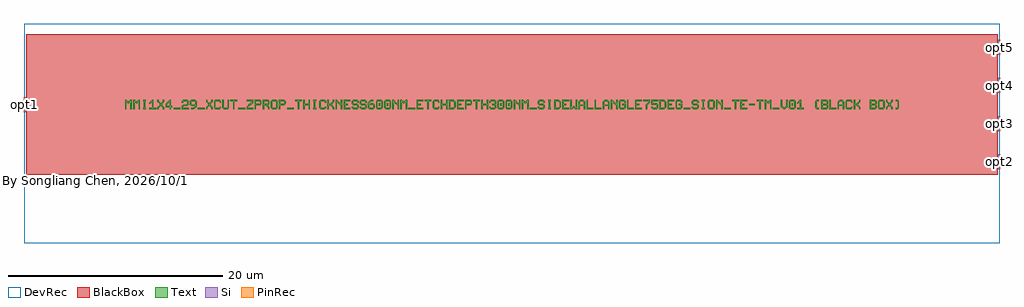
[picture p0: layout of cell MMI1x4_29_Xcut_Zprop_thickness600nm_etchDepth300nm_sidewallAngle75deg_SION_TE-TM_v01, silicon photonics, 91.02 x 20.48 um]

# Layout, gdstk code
import gdstk
lib = gdstk.Library(unit=1e-6, precision=1e-10)
def R(c, l, rs):  # rectangles x0, y0, x1, y1
    for r in rs: c.add(gdstk.rectangle(r[:2], r[2:], *l))
def A(c, l, x, y, w, h, nx, ny, dx, dy):  # array of equal rectangles
    R(c, l, [(x+i*dx, y+j*dy, x+i*dx+w, y+j*dy+h) for i in range(nx) for j in range(ny)])
def P(c, l, *ps):  # polygons
    for p in ps: c.add(gdstk.Polygon(p, *l))
Si = (1, 0)
PinRec = (1, 10)
Text = (10, 0)
DevRec = (68, 0)
BlackBox = (998, 0)

text = lib.new_cell('TEXT')
A(text, Text, 15.1, 0, 0.629, 0.126, 3, 1, 11.325, 0)
R(text, Text, [(4.53,0,5.159,0.126), (6.795,0,7.424,0.126), (10.57,0,11.199,0.126), (52.095,0,52.724,0.126), (55.87,0,56.499,0.126), (60.4,0,61.029,0.126), (23.657,0.315,23.783,0.566), (24.412,0.315,24.538,0.566), (34.982,0.315,35.108,0.566), (35.737,0.315,35.863,0.566), (62.162,0.315,62.288,0.566), (58.198,0.378,58.701,0.503)])
P(text, Text, [(0,0),(0,0.881),(0.126,0.881),(0.252,0.755),(0.378,0.755),(0.503,0.881),(0.629,0.881),(0.629,0),(0.503,0),(0.503,0.629),(0.44,0.629),(0.315,0.503),(0.189,0.629),(0.126,0.629),(0.126,0)],
  [(0.755,0),(0.755,0.881),(0.881,0.881),(1.007,0.755),(1.133,0.755),(1.258,0.881),(1.384,0.881),(1.384,0),(1.258,0),(1.258,0.629),(1.195,0.629),(1.07,0.503),(0.944,0.629),(0.881,0.629),(0.881,0)],
  [(1.699,0),(1.699,0.126),(1.762,0.126),(1.762,0.755),(1.699,0.755),(1.699,0.881),(1.95,0.881),(1.95,0.755),(1.888,0.755),(1.888,0.126),(1.95,0.126),(1.95,0)],
  [(2.265,0),(2.265,0.126),(2.517,0.126),(2.517,0.629),(2.454,0.629),(2.328,0.503),(2.265,0.503),(2.265,0.629),(2.517,0.881),(2.643,0.881),(2.643,0.126),(2.894,0.126),(2.894,0)],
  [(3.02,0),(3.02,0.189),(3.209,0.378),(3.209,0.503),(3.02,0.692),(3.02,0.881),(3.146,0.881),(3.146,0.755),(3.335,0.566),(3.523,0.755),(3.523,0.881),(3.649,0.881),(3.649,0.692),(3.46,0.503),(3.46,0.378),(3.649,0.189),(3.649,0),(3.523,0),(3.523,0.126),(3.335,0.315),(3.146,0.126),(3.146,0)],
  [(4.153,0),(4.153,0.189),(3.775,0.189),(3.775,0.315),(4.153,0.315),(4.153,0.629),(4.09,0.629),(3.901,0.44),(3.901,0.315),(3.775,0.315),(3.775,0.503),(4.153,0.881),(4.278,0.881),(4.278,0.315),(4.404,0.315),(4.404,0.189),(4.278,0.189),(4.278,0)],
  [(5.285,0),(5.285,0.315),(5.411,0.44),(5.725,0.44),(5.788,0.503),(5.788,0.692),(5.725,0.755),(5.474,0.755),(5.411,0.692),(5.411,0.629),(5.285,0.629),(5.285,0.755),(5.411,0.881),(5.788,0.881),(5.914,0.755),(5.914,0.44),(5.788,0.315),(5.474,0.315),(5.411,0.252),(5.411,0.126),(5.914,0.126),(5.914,0)],
  [(6.166,0),(6.166,0.126),(6.355,0.126),(6.48,0.252),(6.48,0.315),(6.166,0.315),(6.04,0.44),(6.48,0.44),(6.543,0.503),(6.543,0.692),(6.48,0.755),(6.229,0.755),(6.166,0.692),(6.166,0.503),(6.229,0.44),(6.04,0.44),(6.04,0.755),(6.166,0.881),(6.543,0.881),(6.669,0.755),(6.669,0.252),(6.418,0)],
  [(7.55,0),(7.55,0.189),(7.739,0.378),(7.739,0.503),(7.55,0.692),(7.55,0.881),(7.676,0.881),(7.676,0.755),(7.865,0.566),(8.053,0.755),(8.053,0.881),(8.179,0.881),(8.179,0.692),(7.99,0.503),(7.99,0.378),(8.179,0.189),(8.179,0),(8.053,0),(8.053,0.126),(7.865,0.315),(7.676,0.126),(7.676,0)],
  [(8.431,0),(8.305,0.126),(8.305,0.755),(8.431,0.881),(8.808,0.881),(8.934,0.755),(8.934,0.629),(8.808,0.629),(8.808,0.692),(8.745,0.755),(8.494,0.755),(8.431,0.692),(8.431,0.189),(8.494,0.126),(8.745,0.126),(8.808,0.189),(8.808,0.252),(8.934,0.252),(8.934,0.126),(8.808,0)],
  [(9.186,0),(9.06,0.126),(9.06,0.881),(9.186,0.881),(9.186,0.189),(9.249,0.126),(9.5,0.126),(9.563,0.189),(9.563,0.881),(9.689,0.881),(9.689,0.126),(9.563,0)],
  [(10.067,0),(10.067,0.755),(9.815,0.755),(9.815,0.881),(10.444,0.881),(10.444,0.755),(10.193,0.755),(10.193,0)],
  [(11.325,0),(11.325,0.252),(11.577,0.503),(11.64,0.503),(11.828,0.692),(11.828,0.755),(11.325,0.755),(11.325,0.881),(11.954,0.881),(11.954,0.629),(11.703,0.378),(11.64,0.378),(11.451,0.189),(11.451,0.126),(11.954,0.126),(11.954,0)],
  [(12.08,0),(12.08,0.881),(12.583,0.881),(12.709,0.755),(12.709,0.503),(12.583,0.378),(12.206,0.378),(12.206,0.503),(12.52,0.503),(12.583,0.566),(12.583,0.692),(12.52,0.755),(12.206,0.755),(12.206,0)],
  [(12.835,0),(12.835,0.881),(13.338,0.881),(13.464,0.755),(12.961,0.755),(12.961,0.503),(13.275,0.503),(13.338,0.566),(13.338,0.692),(13.275,0.755),(13.464,0.755),(13.464,0.503),(13.338,0.378),(13.338,0.315),(13.464,0.189),(13.464,0),(13.338,0),(13.338,0.126),(13.087,0.378),(12.961,0.378),(12.961,0)],
  [(13.716,0),(13.59,0.126),(13.59,0.755),(13.716,0.881),(14.093,0.881),(14.219,0.755),(14.219,0.44),(14.093,0.44),(14.093,0.692),(14.03,0.755),(13.779,0.755),(13.716,0.692),(13.716,0.189),(13.779,0.126),(14.03,0.126),(14.093,0.189),(14.093,0.44),(14.219,0.44),(14.219,0.126),(14.093,0)],
  [(14.345,0),(14.345,0.881),(14.848,0.881),(14.974,0.755),(14.974,0.503),(14.848,0.378),(14.471,0.378),(14.471,0.503),(14.785,0.503),(14.848,0.566),(14.848,0.692),(14.785,0.755),(14.471,0.755),(14.471,0)],
  [(16.107,0),(16.107,0.755),(15.855,0.755),(15.855,0.881),(16.484,0.881),(16.484,0.755),(16.233,0.755),(16.233,0)],
  [(16.61,0),(16.61,0.881),(16.736,0.881),(16.736,0.503),(17.113,0.503),(17.113,0.881),(17.239,0.881),(17.239,0),(17.113,0),(17.113,0.378),(16.736,0.378),(16.736,0)],
  [(17.554,0),(17.554,0.126),(17.617,0.126),(17.617,0.755),(17.554,0.755),(17.554,0.881),(17.805,0.881),(17.805,0.755),(17.743,0.755),(17.743,0.126),(17.805,0.126),(17.805,0)],
  [(18.246,0),(18.12,0.126),(18.12,0.755),(18.246,0.881),(18.623,0.881),(18.749,0.755),(18.749,0.629),(18.623,0.629),(18.623,0.692),(18.56,0.755),(18.309,0.755),(18.246,0.692),(18.246,0.189),(18.309,0.126),(18.56,0.126),(18.623,0.189),(18.623,0.252),(18.749,0.252),(18.749,0.126),(18.623,0)],
  [(18.875,0),(18.875,0.881),(19.001,0.881),(19.001,0.503),(19.127,0.503),(19.378,0.755),(19.378,0.881),(19.504,0.881),(19.504,0.692),(19.253,0.44),(19.504,0.189),(19.504,0),(19.378,0),(19.378,0.126),(19.127,0.378),(19.001,0.378),(19.001,0)],
  [(19.63,0),(19.63,0.881),(19.756,0.881),(20.07,0.566),(20.133,0.566),(20.133,0.881),(20.259,0.881),(20.259,0),(20.133,0),(20.133,0.315),(19.819,0.629),(19.756,0.629),(19.756,0)],
  [(20.385,0),(20.385,0.881),(21.014,0.881),(21.014,0.755),(20.511,0.755),(20.511,0.503),(20.763,0.503),(20.763,0.378),(20.511,0.378),(20.511,0.126),(21.014,0.126),(21.014,0)],
  [(21.266,0),(21.14,0.126),(21.14,0.252),(21.266,0.252),(21.266,0.189),(21.329,0.126),(21.58,0.126),(21.643,0.189),(21.643,0.315),(21.58,0.378),(21.266,0.378),(21.14,0.503),(21.14,0.755),(21.266,0.881),(21.643,0.881),(21.769,0.755),(21.769,0.629),(21.643,0.629),(21.643,0.692),(21.58,0.755),(21.329,0.755),(21.266,0.692),(21.266,0.566),(21.329,0.503),(21.643,0.503),(21.769,0.378),(21.769,0.126),(21.643,0)],
  [(22.021,0),(21.895,0.126),(21.895,0.252),(22.021,0.252),(22.021,0.189),(22.084,0.126),(22.335,0.126),(22.398,0.189),(22.398,0.315),(22.335,0.378),(22.021,0.378),(21.895,0.503),(21.895,0.755),(22.021,0.881),(22.398,0.881),(22.524,0.755),(22.524,0.629),(22.398,0.629),(22.398,0.692),(22.335,0.755),(22.084,0.755),(22.021,0.692),(22.021,0.566),(22.084,0.503),(22.398,0.503),(22.524,0.378),(22.524,0.126),(22.398,0)],
  [(22.776,0),(22.65,0.126),(22.65,0.629),(22.902,0.881),(23.153,0.881),(23.153,0.755),(22.965,0.755),(22.839,0.629),(22.839,0.566),(23.153,0.566),(23.279,0.44),(22.839,0.44),(22.776,0.378),(22.776,0.189),(22.839,0.126),(23.09,0.126),(23.153,0.189),(23.153,0.378),(23.09,0.44),(23.279,0.44),(23.279,0.126),(23.153,0)],
  [(23.531,0),(23.405,0.126),(23.405,0.755),(23.531,0.881),(23.908,0.881),(24.034,0.755),(23.594,0.755),(23.531,0.692),(23.531,0.189),(23.594,0.126),(23.845,0.126),(23.908,0.189),(23.908,0.692),(23.845,0.755),(24.034,0.755),(24.034,0.126),(23.908,0)],
  [(24.286,0),(24.16,0.126),(24.16,0.755),(24.286,0.881),(24.663,0.881),(24.789,0.755),(24.349,0.755),(24.286,0.692),(24.286,0.189),(24.349,0.126),(24.6,0.126),(24.663,0.189),(24.663,0.692),(24.6,0.755),(24.789,0.755),(24.789,0.126),(24.663,0)],
  [(24.915,0),(24.915,0.881),(25.041,0.881),(25.355,0.566),(25.418,0.566),(25.418,0.881),(25.544,0.881),(25.544,0),(25.418,0),(25.418,0.315),(25.104,0.629),(25.041,0.629),(25.041,0)],
  [(25.67,0),(25.67,0.881),(25.796,0.881),(25.922,0.755),(26.048,0.755),(26.173,0.881),(26.299,0.881),(26.299,0),(26.173,0),(26.173,0.629),(26.11,0.629),(25.985,0.503),(25.859,0.629),(25.796,0.629),(25.796,0)],
  [(27.18,0),(27.18,0.881),(27.809,0.881),(27.809,0.755),(27.306,0.755),(27.306,0.503),(27.558,0.503),(27.558,0.378),(27.306,0.378),(27.306,0.126),(27.809,0.126),(27.809,0)],
  [(28.187,0),(28.187,0.755),(27.935,0.755),(27.935,0.881),(28.564,0.881),(28.564,0.755),(28.313,0.755),(28.313,0)],
  [(28.816,0),(28.69,0.126),(28.69,0.755),(28.816,0.881),(29.193,0.881),(29.319,0.755),(29.319,0.629),(29.193,0.629),(29.193,0.692),(29.13,0.755),(28.879,0.755),(28.816,0.692),(28.816,0.189),(28.879,0.126),(29.13,0.126),(29.193,0.189),(29.193,0.252),(29.319,0.252),(29.319,0.126),(29.193,0)],
  [(29.445,0),(29.445,0.881),(29.571,0.881),(29.571,0.503),(29.948,0.503),(29.948,0.881),(30.074,0.881),(30.074,0),(29.948,0),(29.948,0.378),(29.571,0.378),(29.571,0)],
  [(30.2,0),(30.2,0.881),(30.64,0.881),(30.766,0.755),(30.326,0.755),(30.326,0.126),(30.578,0.126),(30.703,0.252),(30.703,0.629),(30.578,0.755),(30.766,0.755),(30.829,0.692),(30.829,0.189),(30.64,0)],
  [(30.955,0),(30.955,0.881),(31.584,0.881),(31.584,0.755),(31.081,0.755),(31.081,0.503),(31.333,0.503),(31.333,0.378),(31.081,0.378),(31.081,0.126),(31.584,0.126),(31.584,0)],
  [(31.71,0),(31.71,0.881),(32.213,0.881),(32.339,0.755),(32.339,0.503),(32.213,0.378),(31.836,0.378),(31.836,0.503),(32.15,0.503),(32.213,0.566),(32.213,0.692),(32.15,0.755),(31.836,0.755),(31.836,0)],
  [(32.717,0),(32.717,0.755),(32.465,0.755),(32.465,0.881),(33.094,0.881),(33.094,0.755),(32.843,0.755),(32.843,0)],
  [(33.22,0),(33.22,0.881),(33.346,0.881),(33.346,0.503),(33.723,0.503),(33.723,0.881),(33.849,0.881),(33.849,0),(33.723,0),(33.723,0.378),(33.346,0.378),(33.346,0)],
  [(34.101,0),(33.975,0.126),(33.975,0.252),(34.101,0.252),(34.101,0.189),(34.164,0.126),(34.415,0.126),(34.478,0.189),(34.478,0.315),(34.415,0.378),(34.227,0.378),(34.227,0.503),(34.415,0.503),(34.478,0.566),(34.478,0.692),(34.415,0.755),(34.164,0.755),(34.101,0.692),(34.101,0.629),(33.975,0.629),(33.975,0.755),(34.101,0.881),(34.478,0.881),(34.604,0.755),(34.604,0.503),(34.541,0.44),(34.604,0.378),(34.604,0.126),(34.478,0)],
  [(34.856,0),(34.73,0.126),(34.73,0.755),(34.856,0.881),(35.233,0.881),(35.359,0.755),(34.919,0.755),(34.856,0.692),(34.856,0.189),(34.919,0.126),(35.17,0.126),(35.233,0.189),(35.233,0.692),(35.17,0.755),(35.359,0.755),(35.359,0.126),(35.233,0)],
  [(35.611,0),(35.485,0.126),(35.485,0.755),(35.611,0.881),(35.988,0.881),(36.114,0.755),(35.674,0.755),(35.611,0.692),(35.611,0.189),(35.674,0.126),(35.925,0.126),(35.988,0.189),(35.988,0.692),(35.925,0.755),(36.114,0.755),(36.114,0.126),(35.988,0)],
  [(36.24,0),(36.24,0.881),(36.366,0.881),(36.68,0.566),(36.743,0.566),(36.743,0.881),(36.869,0.881),(36.869,0),(36.743,0),(36.743,0.315),(36.429,0.629),(36.366,0.629),(36.366,0)],
  [(36.995,0),(36.995,0.881),(37.121,0.881),(37.247,0.755),(37.373,0.755),(37.498,0.881),(37.624,0.881),(37.624,0),(37.498,0),(37.498,0.629),(37.435,0.629),(37.31,0.503),(37.184,0.629),(37.121,0.629),(37.121,0)],
  [(38.631,0),(38.505,0.126),(38.505,0.252),(38.631,0.252),(38.631,0.189),(38.694,0.126),(38.945,0.126),(39.008,0.189),(39.008,0.315),(38.945,0.378),(38.631,0.378),(38.505,0.503),(38.505,0.755),(38.631,0.881),(39.008,0.881),(39.134,0.755),(39.134,0.629),(39.008,0.629),(39.008,0.692),(38.945,0.755),(38.694,0.755),(38.631,0.692),(38.631,0.566),(38.694,0.503),(39.008,0.503),(39.134,0.378),(39.134,0.126),(39.008,0)],
  [(39.449,0),(39.449,0.126),(39.512,0.126),(39.512,0.755),(39.449,0.755),(39.449,0.881),(39.7,0.881),(39.7,0.755),(39.638,0.755),(39.638,0.126),(39.7,0.126),(39.7,0)],
  [(40.015,0),(40.015,0.881),(40.455,0.881),(40.581,0.755),(40.141,0.755),(40.141,0.126),(40.393,0.126),(40.518,0.252),(40.518,0.629),(40.393,0.755),(40.581,0.755),(40.644,0.692),(40.644,0.189),(40.455,0)],
  [(40.77,0),(40.77,0.881),(41.399,0.881),(41.399,0.755),(40.896,0.755),(40.896,0.503),(41.148,0.503),(41.148,0.378),(40.896,0.378),(40.896,0.126),(41.399,0.126),(41.399,0)],
  [(41.525,0),(41.525,0.881),(41.651,0.881),(41.651,0.189),(41.714,0.189),(41.84,0.315),(41.965,0.189),(42.028,0.189),(42.028,0.881),(42.154,0.881),(42.154,0),(41.965,0),(41.84,0.126),(41.714,0)],
  [(42.28,0),(42.28,0.692),(42.469,0.881),(42.72,0.881),(42.846,0.755),(42.532,0.755),(42.406,0.629),(42.406,0.44),(42.783,0.44),(42.783,0.629),(42.658,0.755),(42.846,0.755),(42.909,0.692),(42.909,0),(42.783,0),(42.783,0.315),(42.406,0.315),(42.406,0)],
  [(43.035,0),(43.035,0.881),(43.161,0.881),(43.161,0.126),(43.664,0.126),(43.664,0)],
  [(43.79,0),(43.79,0.881),(43.916,0.881),(43.916,0.126),(44.419,0.126),(44.419,0)],
  [(44.545,0),(44.545,0.692),(44.734,0.881),(44.985,0.881),(45.111,0.755),(44.797,0.755),(44.671,0.629),(44.671,0.44),(45.048,0.44),(45.048,0.629),(44.923,0.755),(45.111,0.755),(45.174,0.692),(45.174,0),(45.048,0),(45.048,0.315),(44.671,0.315),(44.671,0)],
  [(45.3,0),(45.3,0.881),(45.426,0.881),(45.74,0.566),(45.803,0.566),(45.803,0.881),(45.929,0.881),(45.929,0),(45.803,0),(45.803,0.315),(45.489,0.629),(45.426,0.629),(45.426,0)],
  [(46.181,0),(46.055,0.126),(46.055,0.755),(46.181,0.881),(46.558,0.881),(46.684,0.755),(46.684,0.629),(46.558,0.629),(46.558,0.692),(46.495,0.755),(46.244,0.755),(46.181,0.692),(46.181,0.189),(46.244,0.126),(46.495,0.126),(46.558,0.189),(46.558,0.378),(46.37,0.378),(46.37,0.503),(46.684,0.503),(46.684,0.126),(46.558,0)],
  [(46.81,0),(46.81,0.881),(46.936,0.881),(46.936,0.126),(47.439,0.126),(47.439,0)],
  [(47.565,0),(47.565,0.881),(48.194,0.881),(48.194,0.755),(47.691,0.755),(47.691,0.503),(47.943,0.503),(47.943,0.378),(47.691,0.378),(47.691,0.126),(48.194,0.126),(48.194,0)],
  [(48.572,0),(48.572,0.44),(48.823,0.692),(48.823,0.755),(48.32,0.755),(48.32,0.881),(48.949,0.881),(48.949,0.629),(48.698,0.378),(48.698,0)],
  [(49.201,0),(49.075,0.126),(49.075,0.252),(49.201,0.252),(49.201,0.189),(49.264,0.126),(49.515,0.126),(49.578,0.189),(49.578,0.378),(49.515,0.44),(49.075,0.44),(49.075,0.881),(49.704,0.881),(49.704,0.755),(49.201,0.755),(49.201,0.566),(49.578,0.566),(49.704,0.44),(49.704,0.126),(49.578,0)],
  [(49.83,0),(49.83,0.881),(50.27,0.881),(50.396,0.755),(49.956,0.755),(49.956,0.126),(50.208,0.126),(50.333,0.252),(50.333,0.629),(50.208,0.755),(50.396,0.755),(50.459,0.692),(50.459,0.189),(50.27,0)],
  [(50.585,0),(50.585,0.881),(51.214,0.881),(51.214,0.755),(50.711,0.755),(50.711,0.503),(50.963,0.503),(50.963,0.378),(50.711,0.378),(50.711,0.126),(51.214,0.126),(51.214,0)],
  [(51.466,0),(51.34,0.126),(51.34,0.755),(51.466,0.881),(51.843,0.881),(51.969,0.755),(51.969,0.629),(51.843,0.629),(51.843,0.692),(51.78,0.755),(51.529,0.755),(51.466,0.692),(51.466,0.189),(51.529,0.126),(51.78,0.126),(51.843,0.189),(51.843,0.378),(51.655,0.378),(51.655,0.503),(51.969,0.503),(51.969,0.126),(51.843,0)],
  [(52.976,0),(52.85,0.126),(52.85,0.252),(52.976,0.252),(52.976,0.189),(53.039,0.126),(53.29,0.126),(53.353,0.189),(53.353,0.315),(53.29,0.378),(52.976,0.378),(52.85,0.503),(52.85,0.755),(52.976,0.881),(53.353,0.881),(53.479,0.755),(53.479,0.629),(53.353,0.629),(53.353,0.692),(53.29,0.755),(53.039,0.755),(52.976,0.692),(52.976,0.566),(53.039,0.503),(53.353,0.503),(53.479,0.378),(53.479,0.126),(53.353,0)],
  [(53.794,0),(53.794,0.126),(53.857,0.126),(53.857,0.755),(53.794,0.755),(53.794,0.881),(54.045,0.881),(54.045,0.755),(53.983,0.755),(53.983,0.126),(54.045,0.126),(54.045,0)],
  [(54.486,0),(54.36,0.126),(54.36,0.755),(54.486,0.881),(54.863,0.881),(54.989,0.755),(54.989,0.44),(54.863,0.44),(54.863,0.692),(54.8,0.755),(54.549,0.755),(54.486,0.692),(54.486,0.189),(54.549,0.126),(54.8,0.126),(54.863,0.189),(54.863,0.44),(54.989,0.44),(54.989,0.126),(54.863,0)],
  [(55.115,0),(55.115,0.881),(55.241,0.881),(55.555,0.566),(55.618,0.566),(55.618,0.881),(55.744,0.881),(55.744,0),(55.618,0),(55.618,0.315),(55.304,0.629),(55.241,0.629),(55.241,0)],
  [(56.877,0),(56.877,0.755),(56.625,0.755),(56.625,0.881),(57.254,0.881),(57.254,0.755),(57.003,0.755),(57.003,0)],
  [(57.38,0),(57.38,0.881),(58.009,0.881),(58.009,0.755),(57.506,0.755),(57.506,0.503),(57.758,0.503),(57.758,0.378),(57.506,0.378),(57.506,0.126),(58.009,0.126),(58.009,0)],
  [(59.142,0),(59.142,0.755),(58.89,0.755),(58.89,0.881),(59.519,0.881),(59.519,0.755),(59.268,0.755),(59.268,0)],
  [(59.645,0),(59.645,0.881),(59.771,0.881),(59.897,0.755),(60.023,0.755),(60.148,0.881),(60.274,0.881),(60.274,0),(60.148,0),(60.148,0.629),(60.085,0.629),(59.96,0.503),(59.834,0.629),(59.771,0.629),(59.771,0)],
  [(61.407,0),(61.155,0.252),(61.155,0.881),(61.281,0.881),(61.281,0.315),(61.47,0.126),(61.658,0.315),(61.658,0.881),(61.784,0.881),(61.784,0.252),(61.533,0)],
  [(62.036,0),(61.91,0.126),(61.91,0.755),(62.036,0.881),(62.413,0.881),(62.539,0.755),(62.099,0.755),(62.036,0.692),(62.036,0.189),(62.099,0.126),(62.35,0.126),(62.413,0.189),(62.413,0.692),(62.35,0.755),(62.539,0.755),(62.539,0.126),(62.413,0)],
  [(62.665,0),(62.665,0.126),(62.917,0.126),(62.917,0.629),(62.854,0.629),(62.728,0.503),(62.665,0.503),(62.665,0.629),(62.917,0.881),(63.043,0.881),(63.043,0.126),(63.294,0.126),(63.294,0)],
  [(64.49,0),(64.364,0.126),(64.364,0.755),(64.49,0.881),(64.678,0.881),(64.678,0.755),(64.553,0.755),(64.49,0.692),(64.49,0.189),(64.553,0.126),(64.678,0.126),(64.678,0)],
  [(64.93,0),(64.93,0.881),(65.433,0.881),(65.559,0.755),(65.056,0.755),(65.056,0.503),(65.37,0.503),(65.433,0.566),(65.433,0.692),(65.37,0.755),(65.559,0.755),(65.559,0.503),(65.496,0.44),(65.559,0.378),(65.056,0.378),(65.056,0.126),(65.37,0.126),(65.433,0.189),(65.433,0.315),(65.37,0.378),(65.559,0.378),(65.559,0.126),(65.433,0)],
  [(65.685,0),(65.685,0.881),(65.811,0.881),(65.811,0.126),(66.314,0.126),(66.314,0)],
  [(66.44,0),(66.44,0.692),(66.629,0.881),(66.88,0.881),(67.006,0.755),(66.692,0.755),(66.566,0.629),(66.566,0.44),(66.943,0.44),(66.943,0.629),(66.818,0.755),(67.006,0.755),(67.069,0.692),(67.069,0),(66.943,0),(66.943,0.315),(66.566,0.315),(66.566,0)],
  [(67.321,0),(67.195,0.126),(67.195,0.755),(67.321,0.881),(67.698,0.881),(67.824,0.755),(67.824,0.629),(67.698,0.629),(67.698,0.692),(67.635,0.755),(67.384,0.755),(67.321,0.692),(67.321,0.189),(67.384,0.126),(67.635,0.126),(67.698,0.189),(67.698,0.252),(67.824,0.252),(67.824,0.126),(67.698,0)],
  [(67.95,0),(67.95,0.881),(68.076,0.881),(68.076,0.503),(68.202,0.503),(68.453,0.755),(68.453,0.881),(68.579,0.881),(68.579,0.692),(68.328,0.44),(68.579,0.189),(68.579,0),(68.453,0),(68.453,0.126),(68.202,0.378),(68.076,0.378),(68.076,0)],
  [(69.46,0),(69.46,0.881),(69.963,0.881),(70.089,0.755),(69.586,0.755),(69.586,0.503),(69.9,0.503),(69.963,0.566),(69.963,0.692),(69.9,0.755),(70.089,0.755),(70.089,0.503),(70.026,0.44),(70.089,0.378),(69.586,0.378),(69.586,0.126),(69.9,0.126),(69.963,0.189),(69.963,0.315),(69.9,0.378),(70.089,0.378),(70.089,0.126),(69.963,0)],
  [(70.341,0),(70.215,0.126),(70.215,0.755),(70.341,0.881),(70.718,0.881),(70.844,0.755),(70.844,0.44),(70.718,0.44),(70.718,0.692),(70.655,0.755),(70.404,0.755),(70.341,0.692),(70.341,0.189),(70.404,0.126),(70.655,0.126),(70.718,0.189),(70.718,0.44),(70.844,0.44),(70.844,0.126),(70.718,0)],
  [(70.97,0),(70.97,0.189),(71.159,0.378),(71.159,0.503),(70.97,0.692),(70.97,0.881),(71.096,0.881),(71.096,0.755),(71.285,0.566),(71.473,0.755),(71.473,0.881),(71.599,0.881),(71.599,0.692),(71.41,0.503),(71.41,0.378),(71.599,0.189),(71.599,0),(71.473,0),(71.473,0.126),(71.285,0.315),(71.096,0.126),(71.096,0)],
  [(71.851,0),(71.851,0.126),(71.977,0.126),(72.04,0.189),(72.04,0.692),(71.977,0.755),(71.851,0.755),(71.851,0.881),(72.04,0.881),(72.165,0.755),(72.165,0.126),(72.04,0)])

mmi1x4_29_xcut_zprop_thi = lib.new_cell('MMI1x4_29_Xcut_Zprop_thickness600nm_etchDepth300nm_sidewallAngle75deg_SION_TE-TM_v01')
A(mmi1x4_29_xcut_zprop_thi, Si, 45.3, -6.0412, 0.2, 1.4, 1, 4, 0, 3.5608)
R(mmi1x4_29_xcut_zprop_thi, Si, [(-45.5,-0.7,-45.3,0.7)])
R(mmi1x4_29_xcut_zprop_thi, DevRec, [(-45.5,-12.9412,45.5,7.5412)])
R(mmi1x4_29_xcut_zprop_thi, BlackBox, [(-45.3,-6.5412,45.3,6.5412)])
mmi1x4_29_xcut_zprop_thi.add(gdstk.FlexPath([(-45.49,0),(-45.51,0)], 1.4, ends="flush", simple_path=True, layer=1, datatype=10))  # PinRec
mmi1x4_29_xcut_zprop_thi.add(gdstk.FlexPath([(45.49,-5.3412),(45.51,-5.3412)], 1.4, ends="flush", simple_path=True, layer=1, datatype=10))  # PinRec
mmi1x4_29_xcut_zprop_thi.add(gdstk.FlexPath([(45.49,-1.7804),(45.51,-1.7804)], 1.4, ends="flush", simple_path=True, layer=1, datatype=10))  # PinRec
mmi1x4_29_xcut_zprop_thi.add(gdstk.FlexPath([(45.49,1.7804),(45.51,1.7804)], 1.4, ends="flush", simple_path=True, layer=1, datatype=10))  # PinRec
mmi1x4_29_xcut_zprop_thi.add(gdstk.FlexPath([(45.49,5.3412),(45.51,5.3412)], 1.4, ends="flush", simple_path=True, layer=1, datatype=10))  # PinRec
mmi1x4_29_xcut_zprop_thi.add(gdstk.Reference(text, (-36.0825,-0.4405)))
mmi1x4_29_xcut_zprop_thi.add(gdstk.Label('opt1', (-45.5,0), layer=1, texttype=10))
mmi1x4_29_xcut_zprop_thi.add(gdstk.Label('opt2', (45.5,-5.3412), layer=1, texttype=10))
mmi1x4_29_xcut_zprop_thi.add(gdstk.Label('opt3', (45.5,-1.7804), layer=1, texttype=10))
mmi1x4_29_xcut_zprop_thi.add(gdstk.Label('opt4', (45.5,1.7804), layer=1, texttype=10))
mmi1x4_29_xcut_zprop_thi.add(gdstk.Label('opt5', (45.5,5.3412), layer=1, texttype=10))
mmi1x4_29_xcut_zprop_thi.add(gdstk.Label('By Songliang Chen, 2026/10/13', (-45,-7.0412), layer=10, texttype=0))

lib.write_gds('MMI1x4_29_Xcut_Zprop_thickness600nm_etchDepth300nm_sidewallAngle75deg_SION_TE-TM_v01.gds')
